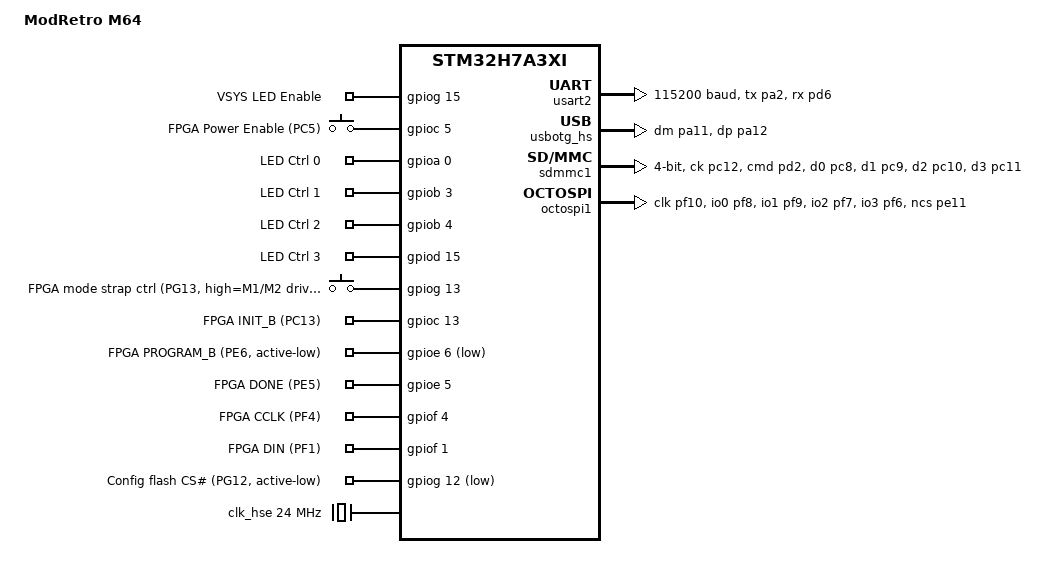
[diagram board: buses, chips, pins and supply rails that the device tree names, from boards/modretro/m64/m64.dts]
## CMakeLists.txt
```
# SPDX-License-Identifier: Apache-2.0

# Application entry point
cmake_minimum_required(VERSION 3.20.0)

# Point Zephyr at this repo's out-of-tree board directory.
set(BOARD_ROOT ${CMAKE_CURRENT_SOURCE_DIR})

find_package(Zephyr REQUIRED HINTS $ENV{ZEPHYR_BASE})
project(m64_app)

target_sources(app PRIVATE src/main.c src/leds.c src/fpga_prg.c src/fpga_spi.c)
```

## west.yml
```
# West manifest for the ModRetro M64 (STM32H7A3ZIT6) application.
#
# This makes m64-misc/mcu a self-contained west workspace that pulls in
# upstream Zephyr but only the modules needed to build for STM32H7.
#
# Bootstrap (from the repo, with a Python venv + west installed):
#
#   cd /home/markus/work/repos/m64-misc
#   west init -l mcu
#   west update
#   west zephyr-export
#
# Then build:
#
#   export ZEPHYR_BASE=$(west topdir)/zephyr
#   cd mcu
#   west build -b m64 .
#
# To add a module later, add its name to the name-allowlist below and
# re-run `west update`.

manifest:
  remotes:
    - name: zephyrproject-rtos
      url-base: https://github.com/zephyrproject-rtos

  projects:
    - name: zephyr
      remote: zephyrproject-rtos
      revision: v4.1.0
      import:
        # Only clone the modules required for an STM32H7 Cortex-M7 target.
        name-allowlist:
          - cmsis          # ARM CMSIS core (required for Cortex-M)
          - hal_stm32      # STM32 HAL/LL drivers (required for this SoC)
          - fatfs          # ELM-ChaN FatFs (FAT filesystem for the SD card)
          # Uncomment as needed:
          # - mcuboot      # secure bootloader
          # - segger       # SEGGER RTT / J-Link
          # - hal_st       # ST sensor/component HALs
          # - littlefs     # LittleFS filesystem
          # - tinycrypt    # crypto primitives

  self:
    # Path of THIS manifest repo within the workspace. `west init -l mcu`
    # sets the workspace root to the parent (m64-misc/), so this repo lives
    # at m64-misc/mcu.
    path: mcu
```

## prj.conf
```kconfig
# Application Kconfig options
CONFIG_SERIAL=y
CONFIG_CONSOLE=y
CONFIG_UART_CONSOLE=y

# Console + logs go over the USB CDC-ACM port (see zephyr,console in the DTS).
CONFIG_LOG=y
# Logs are emitted through the shell's log backend (see below), so the
# standalone UART backend is disabled and deferred mode is used (the shell
# processes log records from its own thread).
CONFIG_LOG_BACKEND_UART=n

# Interactive shell on the USB CDC-ACM port (shares zephyr,shell-uart).
CONFIG_SHELL=y
# Route log output through the shell backend so shell prompts and log
# records don't interleave on the shared console.
CONFIG_SHELL_LOG_BACKEND=y
# Immediate (synchronous) logging: render each LOG_* at the call site instead
# of queuing it for the shell thread to drain when idle. Without this, logs
# emitted inside a long-running/blocking shell command handler are not printed
# until the handler returns (and never, if it blocks). Useful for bring-up.
CONFIG_LOG_MODE_IMMEDIATE=y

# USB device stack + CDC-ACM, used as the primary console.
# Initialize the USB device stack automatically at boot so the console is
# up before main() (and the logging backend) writes to it.
CONFIG_USB_DEVICE_STACK=y
CONFIG_USB_DEVICE_INITIALIZE_AT_BOOT=y
CONFIG_USB_DEVICE_PRODUCT="ModRetro M64"
CONFIG_USB_CDC_ACM=y
CONFIG_UART_LINE_CTRL=y

# System info for the console banner.
CONFIG_HWINFO=y
CONFIG_REBOOT=y
CONFIG_PRINTK=y

# SD card on SDMMC1: disk access + SD/SDHC stack.
CONFIG_DISK_ACCESS=y
CONFIG_DISK_DRIVER_SDMMC=y
CONFIG_SDMMC_STACK=y
CONFIG_SDHC=y

# Enable SDMMC hardware flow control: the peripheral stalls the SD clock when
# the FIFO is full/empty, preventing RX overrun / TX underrun on this marginal
# card layout (observed SDMMC_ERROR_RX_OVERRUN without it).
CONFIG_SDMMC_STM32_HWFC=y

# FAT filesystem (removable, PC-readable).
CONFIG_FILE_SYSTEM=y
CONFIG_FAT_FILESYSTEM_ELM=y
# Long filename (LFN) support. Without this FatFs only handles 8.3 names.
CONFIG_FS_FATFS_LFN=y
# LFN work-buffer location.
CONFIG_FS_FATFS_LFN_MODE_HEAP=y
# Max LFN length (1..255). Static buffer costs (MAX_LFN+1)*2 bytes.
CONFIG_FS_FATFS_MAX_LFN=255

# USB Mass Storage: export the SD card's raw blocks to the host.
# The MSC LUN maps directly to the SDMMC "SD" disk (disk_access_*), so the
# host sees the real card. FatFs and the host cannot own the FAT at the same
# time, so 'm64 sd usb on' unmounts FatFs before handing the card over.
CONFIG_USB_MASS_STORAGE=y
CONFIG_MASS_STORAGE_DISK_NAME="SD"

# CRC library, for verifying SD reads of the bitstream (m64 fpgacrc).
CONFIG_CRC=y

# OCTOSPI1 to the FPGA (custom SPI slave) is driven directly through the STM32
# HAL (HAL_OSPI_*) from src/ospi.c; no Zephyr flash driver binds to the node.
# USE_STM32_HAL_OSPI has no prompt (it is normally select'd by a driver), so it
# is select'd from the board Kconfig (boards/modretro/m64/Kconfig.m64) instead.
```

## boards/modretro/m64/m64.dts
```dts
/*
 * SPDX-License-Identifier: Apache-2.0
 *
 * ModRetro M64 board devicetree.
 * SoC: STM32H7A3ZIT6 (LQFP144).
 *
 */

/dts-v1/;

/* Base SoC devicetree for the STM32H7A3xI (2 MB flash) family. */
#include <st/h7/stm32h7a3Xi.dtsi>
/* Pin control definitions for the ZI (LQFP144) package.
 * Non-Q (without-SMPS) variant: this is the STM32H7A3ZIT6 pinout that exposes
 * PF0-PF15 and PG0-PG15 (the SMPS supply pins are reassigned as GPIO.)
 */
#include <st/h7/stm32h7a3z(g-i)tx-pinctrl.dtsi>

#include <zephyr/dt-bindings/gpio/gpio.h>
#include <zephyr/dt-bindings/input/input-event-codes.h>

/ {
	model = "ModRetro M64";
	compatible = "modretro,m64";

	chosen {
		/*
		 * Primary console (printk, logs, boot banner, faults) on the
		 * USB CDC-ACM port. USART2 remains available as a wired backup
		 * but is no longer the chosen console.
		 */
		zephyr,console = &cdc_acm_uart0;
		zephyr,shell-uart = &cdc_acm_uart0;
		zephyr,sram = &sram0;
		zephyr,flash = &flash0;
		/* Place code tagged __itcm_section in zero-wait-state ITCM
		 * (used for the cycle-tight WS2812 bit-bang). */
		zephyr,itcm = &itcm;
	};

	/*
	 * Board-specific general-purpose GPIOs (Option B: custom node,
	 * driven directly via GPIO_DT_SPEC_GET(DT_NODELABEL(...), gpios)).
	 */
	m64_gpios {
		compatible = "gpio-keys";
		// Power domain enables
		vsys_led_on: vsys_led_on {
			gpios = <&gpiog 15 GPIO_ACTIVE_HIGH>;
			label = "VSYS LED Enable";
		};
		fpga_pwr_en: fpga_pwr_en {
			gpios = <&gpioc 5 GPIO_ACTIVE_HIGH>;
			label = "FPGA Power Enable (PC5)";
		};

		// LEDs
		ctrl_led_data_0: ctrl_led_data_0 {
			gpios = <&gpioa 0 GPIO_ACTIVE_HIGH>;
			label = "LED Ctrl 0";
		};
		ctrl_led_data_1: ctrl_led_data_1 {
			gpios = <&gpiob 3 GPIO_ACTIVE_HIGH>;
			label = "LED Ctrl 1";
		};
		ctrl_led_data_2: ctrl_led_data_2 {
			gpios = <&gpiob 4 GPIO_ACTIVE_HIGH>;
			label = "LED Ctrl 2";
		};
		ctrl_led_data_3: ctrl_led_data_3 {
			gpios = <&gpiod 15 GPIO_ACTIVE_HIGH>;
			label = "LED Ctrl 3";
		};

		// FPGA interface
		fpga_ss_boot_ctrl: fpga_ss_boot_ctrl {
			gpios = <&gpiog 13 GPIO_ACTIVE_HIGH>;
			label = "FPGA mode strap ctrl (PG13, high=M1/M2 driven to 1V8 => M[2:0]=111)";
		};
		fpga_init_b: fpga_init_b {
			gpios = <&gpioc 13 GPIO_ACTIVE_HIGH>;
			label = "FPGA INIT_B (PC13)";
		};
		fpga_program_b: fpga_program_b {
			gpios = <&gpioe 6 GPIO_ACTIVE_LOW>;
			label = "FPGA PROGRAM_B (PE6, active-low)";
		};
		fpga_done: fpga_done {
			gpios = <&gpioe 5 GPIO_ACTIVE_HIGH>;
			label = "FPGA DONE (PE5)";
		};

		/*
		 * Slave-Serial configuration clock/data, bit-banged as plain
		 * GPIOs (temporary bring-up). CCLK=PF4, DIN=PF0. Bitstream is
		 * shifted MSB-first, one bit per CCLK rising edge.
		 */
		fpga_cclk: fpga_cclk {
			gpios = <&gpiof 4 GPIO_ACTIVE_HIGH>;
			label = "FPGA CCLK (PF4)";
		};
		fpga_din: fpga_din {
			gpios = <&gpiof 1 GPIO_ACTIVE_HIGH>;
			label = "FPGA DIN (PF1)";
		};

		/*
		 * Config flash chip-select (PG12 = OCTOSPI2 NCS). The bitstream
		 * flash shares the CCLK/DIN bus with the FPGA's Slave-Serial
		 * input, so it must be DESELECTED (CS# high) during FPGA config
		 * to keep it off the shared IO0/DIN line. Active-low.
		 */
		flash_cs: flash_cs {
			gpios = <&gpiog 12 GPIO_ACTIVE_LOW>;
			label = "Config flash CS# (PG12, active-low)";
		};
	};
};

/*
 * Clock tree.
 *
 * HSE: 24 MHz passive crystal across PH0-OSC_IN / PH1-OSC_OUT (no bypass).
 * PLL1: 24 MHz / M=12 = 2 MHz ref; xN=280 -> VCO 560 MHz; /P=2 -> 280 MHz SYSCLK.
 */
&clk_hse {
	clock-frequency = <DT_FREQ_M(24)>;
	status = "okay";
};

&clk_hsi48 {
	/* 48 MHz RC, useful for USB/RNG. */
	status = "okay";
};

&pll {
	div-m = <12>;
	mul-n = <280>;
	div-p = <2>;
	div-q = <2>;
	div-r = <2>;
	clocks = <&clk_hse>;
	status = "okay";
};

/*
 * PLL2 provides the 48 MHz SDMMC1 kernel clock (via PLL2R).
 *
 * HSE 24 MHz / M=4 = 6 MHz ref; xN=80 -> VCO 480 MHz; /R=10 -> 48 MHz.
 * (P and Q are unused here but must be valid dividers.)
 */
&pll2 {
	div-m = <4>;
	mul-n = <80>;
	div-p = <2>;
	div-q = <2>;
	div-r = <10>;
	clocks = <&clk_hse>;
	status = "okay";
};

&rcc {
	clocks = <&pll>;
	clock-frequency = <DT_FREQ_M(280)>;
	d1cpre = <1>;
	hpre = <1>;
	d1ppre = <2>;
	d2ppre1 = <2>;
	d2ppre2 = <2>;
	d3ppre = <2>;
};

/*
 * Shell / boot-log / console UART.
 *
 * USART2: TX = PA2, RX = PD6 (per M64 schematic).
 */
&usart2 {
	pinctrl-0 = <&usart2_tx_pa2 &usart2_rx_pd6>;
	pinctrl-names = "default";
	current-speed = <115200>;
	status = "okay";
};

/*
 * USB OTG HS running on the internal full-speed PHY (PA11/PA12).
 *
 * This is the same connector used for ROM-bootloader DFU. Full-speed
 * (12 Mbit/s) is ample for a CDC-ACM console. Inherits the SoC-default
 * clocks (AHB1 USB1OTGHSEN + HSI48) and the internal usb-nop-xceiv PHY.
 *
 * NOTE: The external USB3300 ULPI HS PHY is on a separate port and is not
 * used here; switch back to it if Hi-Speed throughput is needed later.
 */
zephyr_udc0: &usbotg_hs {
	pinctrl-0 = <&usb_otg_hs_dm_pa11 &usb_otg_hs_dp_pa12>;
	pinctrl-names = "default";
	status = "okay";

	cdc_acm_uart0: cdc_acm_uart0 {
		compatible = "zephyr,cdc-acm-uart";
	};
};

/*
 * SD card on SDMMC1 (4-bit bus).
 *
 *   CK  = PC12   CMD = PD2
 *   D0  = PC8    D1  = PC9    D2  = PC10   D3  = PC11
 *   DET = PE15 (card-detect, active-low: pulled low when a card is present)
 *
 * The SDMMC kernel clock is provided by the SoC default; adjust the RCC
 * domain-clock source here if the card fails to initialise.
 */
&sdmmc1 {
	pinctrl-0 = <&sdmmc1_ck_pc12 &sdmmc1_cmd_pd2
		     &sdmmc1_d0_pc8 &sdmmc1_d1_pc9
		     &sdmmc1_d2_pc10 &sdmmc1_d3_pc11>;
	pinctrl-names = "default";
	/* AHB3 bus-clock gate + 48 MHz kernel clock from PLL2R (SDMMC_SEL=1). */
	clocks = <&rcc STM32_CLOCK_BUS_AHB3 0x00010000>,
		 <&rcc STM32_SRC_PLL2_R SDMMC_SEL(1)>;
	cd-gpios = <&gpioe 15 GPIO_ACTIVE_LOW>;
	bus-width = <4>;
	/* Card clock = SDMMCCLK / (2 * clk-div) = 48 MHz / 8 = 6 MHz.
	 * The card is unreliable at full speed on this layout; 6 MHz is
	 * stable. Lower clk-div (toward 0) to go faster if margins allow. */
	clk-div = <4>;
	disk-name = "SD";
	status = "okay";
};

/*
 * Custom SPI/QSPI link to the FPGA over OCTOSPI1 (I/O port 1).
 *
 * The FPGA implements a custom SPI slave; the MCU drives it directly via the
 * STM32 HAL (HAL_OSPI_*), not the Zephyr st,stm32-ospi-nor driver. Because no
 * NOR child node is attached here, no flash driver binds to this controller,
 * leaving the peripheral free for application-owned HAL transactions. This
 * node exists to (a) mux the pins and (b) gate the peripheral clock via the
 * standard Zephyr pinctrl/clock plumbing.
 *
 * Pin map (fixed by silicon on the H7A3 ZI package, I/O port 1):
 *   CLK  = PF10          NCS  = PE11
 *   IO0  = PF8           IO1  = PF9
 *   IO2  = PF7           IO3  = PF6
 *
 * NOTE: IO0..IO3 are hard-mapped to PF8/PF9/PF7/PF6 (not PF6..PF9 in order).
 * The FPGA slave must wire data[0..3] to PF8/PF9/PF7/PF6 respectively or the
 * quad-phase bytes will be bit-scrambled.
 *
 * NOTE: PF6 was previously the (now removed) fpga_rst GPIO. It is reused here
 * as OCTOSPI IO3, so the two functions are mutually exclusive.
 *
 * Kernel clock: PLL1_Q (see stm32h7a3.dtsi default: STM32_SRC_PLL1_Q
 * OSPI_SEL(1)); with the current PLL1 tree that is 280 MHz. Pick the HAL
 * ClockPrescaler in software for the SCLK your FPGA slave can meet.
 */
&octospi1 {
	pinctrl-0 = <&octospim_p1_clk_pf10
		     &octospim_p1_io0_pf8
		     &octospim_p1_io1_pf9
		     &octospim_p1_io2_pf7
		     &octospim_p1_io3_pf6
		     &octospim_p1_ncs_pe11>;
	pinctrl-names = "default";
	status = "okay";
};
```

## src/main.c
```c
#include <ff.h>
#include <soc.h>
#include <stdio.h>
#include <stdlib.h>
#include <string.h>
#include <zephyr/device.h>
#include <zephyr/drivers/gpio.h>
#include <zephyr/drivers/hwinfo.h>
#include <zephyr/drivers/uart.h>
#include <zephyr/fs/fs.h>
#include <zephyr/kernel.h>
#include <zephyr/linker/section_tags.h>
#include <zephyr/logging/log.h>
#include <zephyr/shell/shell.h>
#include <zephyr/storage/disk_access.h>
#include <zephyr/sys/crc.h>
#include <zephyr/version.h>

LOG_MODULE_REGISTER(m64, LOG_LEVEL_INF);

void leds_setup_pins(void);
void fpga_setup_pins(void);
void fpga_spi_init(void);

/* Board GPIO: VSYS LED enable (PG15, active-high). */
static const struct gpio_dt_spec vsys_led_on = GPIO_DT_SPEC_GET(DT_NODELABEL(vsys_led_on), gpios);
static const struct gpio_dt_spec fpga_pwr_en = GPIO_DT_SPEC_GET(DT_NODELABEL(fpga_pwr_en), gpios);

/* FatFs mount for the SD card on SDMMC1 (disk-name "SD" from the DTS). */
static FATFS fat_fs;
static struct fs_mount_t sd_mnt = {
    .type = FS_FATFS,
    .fs_data = &fat_fs,
    .mnt_point = "/SD:",
};

static bool sd_mounted = false;

/* Bring up the SD disk and mount its FAT filesystem. Returns 0 on success,
 * a negative errno on failure (e.g. no card inserted). Non-fatal: the app
 * still boots without a card.
 */
static int mount_sd(void) {
  int rc;

  if (sd_mounted) {
    return 0;
  }

  /* "SD" must match disk-name in the sdmmc node. */
  rc = disk_access_init("SD");
  if (rc != 0) {
    LOG_ERR("SD: disk_access_init failed (%d) - no card?", rc);
    return -EIO;
  }

  rc = fs_mount(&sd_mnt);
  if (rc < 0) {
    LOG_ERR("SD: fs_mount(%s) failed (%d)", sd_mnt.mnt_point, rc);
    return rc;
  }

  sd_mounted = true;
  LOG_INF("SD mounted at %s", sd_mnt.mnt_point);
  return 0;
}

/* Unmount the SD filesystem. Returns 0 on success (or if already
 * unmounted), a negative errno on failure.
 */
static int unmount_sd(void) {
  int rc;

  if (!sd_mounted) {
    return 0;
  }

  rc = fs_unmount(&sd_mnt);
  if (rc < 0) {
    LOG_ERR("SD: fs_unmount(%s) failed (%d)", sd_mnt.mnt_point, rc);
    return rc;
  }

  sd_mounted = false;
  LOG_INF("SD unmounted from %s", sd_mnt.mnt_point);
  return 0;
}

static int cmd_m64_sd_mount(const struct shell *sh, size_t argc, char **argv) {
  ARG_UNUSED(argc);
  ARG_UNUSED(argv);

  int rc = mount_sd();

  if (rc != 0) {
    shell_error(sh, "mount failed (%d)", rc);
    return rc;
  }
  shell_print(sh, "mounted at %s", sd_mnt.mnt_point);
  return 0;
}

static int cmd_m64_sd_unmount(const struct shell *sh, size_t argc, char **argv) {
  ARG_UNUSED(argc);
  ARG_UNUSED(argv);

  int rc = unmount_sd();

  if (rc != 0) {
    shell_error(sh, "unmount failed (%d)", rc);
    return rc;
  }
  shell_print(sh, "unmounted");
  return 0;
}

/* List directory contents. Usage: m64 sd ls [path]
 * Path defaults to the mount point if omitted.
 */
static int cmd_m64_sd_ls(const struct shell *sh, size_t argc, char **argv) {
  const char *path = (argc > 1) ? argv[1] : sd_mnt.mnt_point;
  struct fs_dir_t dir;
  int rc;

  if (!sd_mounted) {
    shell_error(sh, "SD not mounted (run 'm64 sd mount')");
    return -ENODEV;
  }

  fs_dir_t_init(&dir);
  rc = fs_opendir(&dir, path);
  if (rc < 0) {
    shell_error(sh, "opendir(%s) failed (%d)", path, rc);
    return rc;
  }

  while (1) {
    struct fs_dirent entry;

    rc = fs_readdir(&dir, &entry);
    if (rc < 0) {
      shell_error(sh, "readdir failed (%d)", rc);
      break;
    }
    if (entry.name[0] == '\0') {
      break; /* end of directory */
    }

    if (entry.type == FS_DIR_ENTRY_DIR) {
      shell_print(sh, "  <DIR>  %s", entry.name);
    } else {
      shell_print(sh, "  %6zu %s", entry.size, entry.name);
    }
  }

  fs_closedir(&dir);
  return (rc < 0) ? rc : 0;
}

/* Print the contents of a file. Usage: m64 sd cat <path> */
static int cmd_m64_sd_cat(const struct shell *sh, size_t argc, char **argv) {
  const char *path = argv[1];
  struct fs_file_t file;
  char buf[128];
  ssize_t n;
  int rc;

  if (!sd_mounted) {
    shell_error(sh, "SD not mounted (run 'm64 sd mount')");
    return -ENODEV;
  }

  fs_file_t_init(&file);
  rc = fs_open(&file, path, FS_O_READ);
  if (rc < 0) {
    shell_error(sh, "open(%s) failed (%d)", path, rc);
    return rc;
  }

  /* Stream the file to the shell in chunks. shell_fprintf with a
   * bounded %.*s avoids assuming NUL-terminated content. */
  while ((n = fs_read(&file, buf, sizeof(buf))) > 0) {
    shell_fprintf(sh, SHELL_NORMAL, "%.*s", (int)n, buf);
  }

  if (n < 0) {
    shell_error(sh, "read failed (%d)", (int)n);
    rc = (int)n;
  } else {
    /* Ensure the prompt starts on a fresh line. */
    shell_fprintf(sh, SHELL_NORMAL, "\n");
    rc = 0;
  }

  fs_close(&file);
  return rc;
}

/* Dispatch one line to the shell, skipping blanks and '#' comments. */
static int source_run_line(const struct shell *sh, char *line) {
  if (line[0] == '\0' || line[0] == '#') {
    return 0;
  }

  int rc = shell_execute_cmd(sh, line);
  if (rc != 0) {
    shell_error(sh, "command failed (%d): %s", rc, line);
  }
  return rc;
}

/* Execute shell commands from a file, one command per line. Blank lines and
 * lines beginning with '#' are ignored. Stops at the first failing command. */
static int source_file(const struct shell *sh, const char *path) {
  struct fs_file_t file;
  static char line[128];
  size_t len = 0;
  char c;
  ssize_t n;
  int rc;

  if (!sd_mounted) {
    shell_error(sh, "SD not mounted (run 'm64 sd mount')");
    return -ENODEV;
  }

  fs_file_t_init(&file);
  rc = fs_open(&file, path, FS_O_READ);
  if (rc < 0) {
    shell_error(sh, "open(%s) failed (%d)", path, rc);
    return rc;
  }

  /* No performance concern here, so just read a byte at a time and split
   * on '\n' ('\r' is dropped so CRLF files work too). */
  while ((n = fs_read(&file, &c, 1)) == 1) {
    if (c == '\r') {
      continue;
    }

    if (c == '\n') {
      line[len] = '\0';
      rc = source_run_line(sh, line);
      if (rc != 0) {
        goto out;
      }
      len = 0;
      continue;
    }

    if (len >= sizeof(line) - 1) {
      shell_error(sh, "line too long (max %zu)", sizeof(line) - 1);
      rc = -EINVAL;
      goto out;
    }

    line[len++] = c;
  }

  if (n < 0) {
    shell_error(sh, "read failed (%d)", (int)n);
    rc = (int)n;
    goto out;
  }

  /* Handle a trailing line without a terminating newline. */
  if (len > 0) {
    line[len] = '\0';
    rc = source_run_line(sh, line);
  }

out:
  fs_close(&file);
  return rc;
}

/* Execute shell commands from a file. Usage: source <path> */
static int cmd_source(const struct shell *sh, size_t argc, char **argv) {
  return source_file(sh, argv[1]);
}

SHELL_STATIC_SUBCMD_SET_CREATE(
    m64_sd_cmds, SHELL_CMD(mount, NULL, "Mount the SD card.", cmd_m64_sd_mount),
    SHELL_CMD(unmount, NULL, "Unmount the SD card.", cmd_m64_sd_unmount),
    SHELL_CMD_ARG(ls, NULL, "List a directory: ls [path]", cmd_m64_sd_ls, 1, 1),
    SHELL_CMD_ARG(cat, NULL, "Print a file: cat <path>", cmd_m64_sd_cat, 2, 0),
    SHELL_SUBCMD_SET_END);

/* Distributed subcommand set for the "m64" root command. Other translation
 * units (e.g. fpga.c) append their own subcommands with SHELL_SUBCMD_ADD
 * against parent (m64)
 */
SHELL_SUBCMD_SET_CREATE(m64_cmds, (m64));

SHELL_SUBCMD_ADD((m64), sd, &m64_sd_cmds, "SD card control.", NULL, 1, 0);

SHELL_CMD_REGISTER(m64, &m64_cmds, "M64 specific commands.", NULL);

SHELL_CMD_ARG_REGISTER(source, NULL, "source <path to .sh file>", cmd_source, 2, 0);

int main(void) {
  leds_setup_pins();
  fpga_setup_pins();
  fpga_spi_init();

  /* Enable various power domains */
  (void)gpio_pin_configure_dt(&vsys_led_on, GPIO_OUTPUT_ACTIVE);
  /* Now power the FPGA on with strap + config pins already stable. */
  (void)gpio_pin_configure_dt(&fpga_pwr_en, GPIO_OUTPUT_INACTIVE);
  (void)gpio_pin_set_dt(&fpga_pwr_en, 0);
  k_msleep(50); /* allow power-on ramp + initial config sequence */
  (void)gpio_pin_set_dt(&fpga_pwr_en, 1);
  k_msleep(50); /* allow power-on ramp + initial config sequence */

  /* Mount the SD card (non-fatal if absent). */
  (void)mount_sd();

  /* Nothing else to do here: the interactive shell runs in its own
   * thread on the USB CDC-ACM console. */
  return 0;
}
```

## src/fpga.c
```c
#include <ff.h>
#include <soc.h>
#include <stdio.h>
#include <stdlib.h>
#include <string.h>
#include <zephyr/device.h>
#include <zephyr/drivers/gpio.h>
#include <zephyr/fs/fs.h>
#include <zephyr/kernel.h>
#include <zephyr/logging/log.h>
#include <zephyr/shell/shell.h>
#include <zephyr/sys/crc.h>

LOG_MODULE_REGISTER(m64_fpga, LOG_LEVEL_INF);

static const struct gpio_dt_spec fpga_ss_boot_ctrl =
    GPIO_DT_SPEC_GET(DT_NODELABEL(fpga_ss_boot_ctrl), gpios);
static const struct gpio_dt_spec fpga_init_b =
    GPIO_DT_SPEC_GET(DT_NODELABEL(fpga_init_b), gpios);
static const struct gpio_dt_spec fpga_program_b =
    GPIO_DT_SPEC_GET(DT_NODELABEL(fpga_program_b), gpios);
static const struct gpio_dt_spec fpga_done =
    GPIO_DT_SPEC_GET(DT_NODELABEL(fpga_done), gpios);
static const struct gpio_dt_spec flash_cs =
    GPIO_DT_SPEC_GET(DT_NODELABEL(flash_cs), gpios);

static const struct gpio_dt_spec fpga_cclk =
    GPIO_DT_SPEC_GET(DT_NODELABEL(fpga_cclk), gpios);
static const struct gpio_dt_spec fpga_din =
    GPIO_DT_SPEC_GET(DT_NODELABEL(fpga_din), gpios);

static const struct gpio_dt_spec fpga_rst =
    GPIO_DT_SPEC_GET(DT_NODELABEL(fpga_rst), gpios);

/*
 * ---------------------------------------------------------------------------
 * FPGA Slave-Serial configuration - BIT-BANG (temporary bring-up).
 *
 * CCLK = PF4, DIN = PF0, driven as plain GPIOs. This is a simple, robust
 * proof-of-life to confirm the FPGA configures: read a chunk from SD into
 * RAM, then clock it out bit-by-bit (MSB-first, data set up before the
 * rising CCLK edge, per Xilinx Slave-Serial). SD and GPIO never contend
 * because each SD read completes before we clock its bytes out.
 *
 * Not fast, but FPGA configuration is a one-time boot operation. Speed can
 * be revisited later (e.g. OCTOSPI or SPI on suitable pins).
 * ---------------------------------------------------------------------------
 */
#define FPGA_CCLK_PORT GPIOF
#define FPGA_CCLK_PIN 4U
#define FPGA_DIN_PORT GPIOF
#define FPGA_DIN_PIN 1U

/* BSRR set/reset masks (atomic single-store level changes). */
#define FPGA_CCLK_SET (1U << FPGA_CCLK_PIN)
#define FPGA_CCLK_CLR (1U << (FPGA_CCLK_PIN + 16))
#define FPGA_DIN_SET (1U << FPGA_DIN_PIN)
#define FPGA_DIN_CLR (1U << (FPGA_DIN_PIN + 16))

void fpga_setup_pins(void) {
  /* Set FPGA configuration mode to 'Slave Serial' (M[2:0] = 3'b111).
   * PG13 gates two N-FETs wired high-side (1V8 -> FET -> M1/M2). Gate high
   * turns them on, driving M1/M2 to 1V8 = 1; M0 has a fixed pull-up. So
   * PG13 high => M[2:0]=111 (active-high strap control). */
  (void)gpio_pin_configure_dt(&fpga_ss_boot_ctrl, GPIO_OUTPUT_ACTIVE);
  /* Set FPGA programming interface to inactive state (PROGRAM_B deasserted;
   * active-low + open-drain, so this drives the line physically high). */
  (void)gpio_pin_configure_dt(&fpga_program_b,
                              GPIO_OUTPUT_INACTIVE | GPIO_OPEN_DRAIN);
  (void)gpio_pin_configure_dt(&fpga_init_b, GPIO_INPUT);
  (void)gpio_pin_configure_dt(&fpga_done, GPIO_INPUT);

  /* Bit-bang config bus: CCLK (PF4) and DIN (PF0) as push-pull outputs,
   * both idle low. This also enables the GPIOF port clock. */
  (void)gpio_pin_configure_dt(&fpga_cclk, GPIO_OUTPUT_INACTIVE);
  (void)gpio_pin_configure_dt(&fpga_din, GPIO_OUTPUT_INACTIVE);
  (void)gpio_pin_configure_dt(&fpga_rst, GPIO_OUTPUT_INACTIVE);

  /* Deselect the config flash (CS# high) so it stays off the shared
   * CCLK/DIN bus. Active-low, so OUTPUT_INACTIVE drives PG12 high. */
  (void)gpio_pin_configure_dt(&flash_cs, GPIO_OUTPUT_INACTIVE);
}

/* Clock out one byte. */
static inline void fpga_bitbang_byte(uint8_t b) {
  for (int k = 0; k < 8; k++) {
    uint32_t din = (b & (1U << (7 - k))) ? FPGA_DIN_SET : FPGA_DIN_CLR;

    /* Idle low; sample on rising edge. */
    FPGA_DIN_PORT->BSRR = din;
    // XXX:TODO: Use CYCCNT here instead of nops
    __asm__ volatile("nop" ::: "memory");
    __asm__ volatile("nop" ::: "memory");
    __asm__ volatile("nop" ::: "memory");
    FPGA_CCLK_PORT->BSRR = FPGA_CCLK_SET; /* rising: latch */
    __asm__ volatile("nop" ::: "memory");
    __asm__ volatile("nop" ::: "memory");
    __asm__ volatile("nop" ::: "memory");
    FPGA_CCLK_PORT->BSRR = FPGA_CCLK_CLR; /* return low */
    __asm__ volatile("nop" ::: "memory");
    __asm__ volatile("nop" ::: "memory");
    __asm__ volatile("nop" ::: "memory");
  }
}

/* Program the FPGA in Slave-Serial mode (bit-banged) from a raw .bin on SD.
 *
 * Expects a raw .bin (write_bitstream -bin_file): no header to skip.
 * Returns 0 on success, negative errno otherwise.
 */
static int fpga_program_path(const char *binpath) {
  struct fs_file_t file;
  /* Large buffer so each SD read is a fast contiguous burst; the slow
   * bit-bang then runs with the SD idle. This avoids interleaving many
   * small reads with the slow clock-out, which was overrunning the
   * marginal SD link (SDMMC_ERROR_RX_OVERRUN). 64 KiB fits in main RAM. */
  static uint8_t cfg_buf[1024];
  ssize_t n;
  int rc;

  fs_file_t_init(&file);
  rc = fs_open(&file, binpath, FS_O_READ);
  if (rc < 0) {
    LOG_ERR("open(%s) failed (%d)", binpath, rc);
    return rc;
  }

  /* Idle CCLK to the phase's resting level before starting. */
  FPGA_CCLK_PORT->BSRR = FPGA_CCLK_CLR;

  /* Ensure the config flash is deselected so it can't drive the shared
   * IO0/DIN line while we clock the bitstream into the FPGA. */
  (void)gpio_pin_set_dt(&flash_cs, 0); /* 0 = inactive = CS# high */

  /* Pulse PROGRAM_B low to start a fresh configuration. */
  (void)gpio_pin_set_dt(&fpga_program_b, 1); /* assert (active low) */
  k_msleep(1);
  LOG_INF("INIT_B during clear (expect 0): %d", gpio_pin_get_dt(&fpga_init_b));
  (void)gpio_pin_set_dt(&fpga_program_b, 0); /* release: drive high */

  /* Wait for INIT_B high = config memory cleared, ready for data.
   * Bounded so a stuck-low INIT_B fails loudly instead of hanging the
   * shell thread forever (which also blocks deferred log draining). */
  int init_b_timeout_ms = 100;
  while (gpio_pin_get_dt(&fpga_init_b) == 0) {
    if (--init_b_timeout_ms < 0) {
      LOG_ERR("INIT_B stuck low: FPGA not clearing config "
              "memory (check PROGRAM_B, INIT_B pull-up, "
              "power, straps)");
      fs_close(&file);
      return -ETIMEDOUT;
    }
    k_msleep(1);
  }
  LOG_INF("FPGA ready for bitstream (bit-bang)");

  /* Read a big block, then clock it out; repeat. SD and GPIO never
   * overlap, and each SD session is a fast burst.
   *
   * While clocking, watch INIT_B: in Slave-Serial a listening FPGA pulls
   * INIT_B low if it hits a CRC error, so a dip proves our data is
   * actually reaching the config engine. Never dipping across the whole
   * image means the FPGA isn't seeing CCLK/DIN as config input at all.
   */
  bool init_b_dipped = false;
  size_t total_clocked = 0;

  while ((n = fs_read(&file, cfg_buf, sizeof(cfg_buf))) > 0) {
    for (ssize_t i = 0; i < n; i++) {
      fpga_bitbang_byte(cfg_buf[i]);

      /* Cheap periodic check (every 256 bytes). */
      if (((i & 0xFF) == 0) && !init_b_dipped &&
          gpio_pin_get_dt(&fpga_init_b) == 0) {
        init_b_dipped = true;
        LOG_WRN("INIT_B went LOW at ~%zu bytes "
                "(FPGA flagged a config/CRC error - "
                "data IS reaching it)",
                total_clocked + (size_t)i);
      }
    }
    total_clocked += (size_t)n;
  }
  fs_close(&file);

  LOG_INF("clocked %zu bytes; INIT_B dipped during load: %s", total_clocked,
          init_b_dipped ? "YES" : "NO");

  if (n < 0) {
    LOG_ERR("read failed (%d)", (int)n);
    return (int)n;
  }

  /*
   * Startup: after the last data byte the FPGA needs extra CCLK cycles
   * to complete its startup sequence and release DONE. DONE is asserted
   * partway through startup, so clock in bursts and poll DONE rather
   * than sending a fixed number of clocks. Bail out after a generous
   * bound (~ a few thousand extra clocks).
   */
  for (int burst = 0; burst < 256; burst++) {
    for (int i = 0; i < 8; i++) {
      fpga_bitbang_byte(0xFF); /* 64 clocks per burst */
    }
    if (gpio_pin_get_dt(&fpga_done) == 1) {
      LOG_INF("FPGA configured: DONE high after %d startup clocks",
              (burst + 1) * 64);

      // Apply core reset
      (void)gpio_pin_configure_dt(&fpga_rst, GPIO_OUTPUT_ACTIVE);
      k_msleep(1);
      (void)gpio_pin_configure_dt(&fpga_rst, GPIO_OUTPUT_INACTIVE);

      return 0;
    }
  }

  LOG_ERR("FPGA config failed: DONE low (INIT_B=%d)",
          gpio_pin_get_dt(&fpga_init_b));

  return -EIO;
}

/* m64 fpga [path] [phase] : program the FPGA (Slave-Serial) from a .bin.
 *   phase 0 = sample on rising CCLK edge (default), 1 = falling edge.
 */
static int cmd_m64_fpga(const struct shell *sh, size_t argc, char **argv) {
  const char *path = (argc > 1) ? argv[1] : "/SD:/fpga.bin";
  int rc;

  shell_print(sh, "programming...");

  rc = fpga_program_path(path);
  if (rc != 0) {
    shell_error(sh, "FPGA program failed (%d)", rc);
    return rc;
  }
  shell_print(sh, "FPGA programmed from %s", path);
  return 0;
}

/* Attach "fpga" as a subcommand of the "m64" root command defined in main.c.
 * The parent's subcommand set is created there with SHELL_SUBCMD_SET_CREATE. */
SHELL_SUBCMD_ADD((m64), fpga, NULL, "Program FPGA: fpga [path]", cmd_m64_fpga,
                 1, 1);
```

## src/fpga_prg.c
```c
#include <ff.h>
#include <soc.h>
#include <stdio.h>
#include <stdlib.h>
#include <string.h>
#include <zephyr/device.h>
#include <zephyr/drivers/gpio.h>
#include <zephyr/fs/fs.h>
#include <zephyr/kernel.h>
#include <zephyr/logging/log.h>
#include <zephyr/shell/shell.h>
#include <zephyr/sys/crc.h>

LOG_MODULE_REGISTER(m64_fpga, LOG_LEVEL_INF);

static const struct gpio_dt_spec fpga_ss_boot_ctrl =
    GPIO_DT_SPEC_GET(DT_NODELABEL(fpga_ss_boot_ctrl), gpios);
static const struct gpio_dt_spec fpga_init_b = GPIO_DT_SPEC_GET(DT_NODELABEL(fpga_init_b), gpios);
static const struct gpio_dt_spec fpga_program_b =
    GPIO_DT_SPEC_GET(DT_NODELABEL(fpga_program_b), gpios);
static const struct gpio_dt_spec fpga_done = GPIO_DT_SPEC_GET(DT_NODELABEL(fpga_done), gpios);
static const struct gpio_dt_spec flash_cs = GPIO_DT_SPEC_GET(DT_NODELABEL(flash_cs), gpios);

static const struct gpio_dt_spec fpga_cclk = GPIO_DT_SPEC_GET(DT_NODELABEL(fpga_cclk), gpios);
static const struct gpio_dt_spec fpga_din = GPIO_DT_SPEC_GET(DT_NODELABEL(fpga_din), gpios);

/*
 * ---------------------------------------------------------------------------
 * FPGA Slave-Serial configuration - BIT-BANG (temporary bring-up).
 *
 * CCLK = PF4, DIN = PF0, driven as plain GPIOs. This is a simple, robust
 * proof-of-life to confirm the FPGA configures: read a chunk from SD into
 * RAM, then clock it out bit-by-bit (MSB-first, data set up before the
 * rising CCLK edge, per Xilinx Slave-Serial). SD and GPIO never contend
 * because each SD read completes before we clock its bytes out.
 *
 * Not fast, but FPGA configuration is a one-time boot operation. Speed can
 * be revisited later (e.g. OCTOSPI or SPI on suitable pins).
 * ---------------------------------------------------------------------------
 */
#define FPGA_CCLK_PORT GPIOF
#define FPGA_CCLK_PIN 4U
#define FPGA_DIN_PORT GPIOF
#define FPGA_DIN_PIN 1U

/* BSRR set/reset masks (atomic single-store level changes). */
#define FPGA_CCLK_SET (1U << FPGA_CCLK_PIN)
#define FPGA_CCLK_CLR (1U << (FPGA_CCLK_PIN + 16))
#define FPGA_DIN_SET (1U << FPGA_DIN_PIN)
#define FPGA_DIN_CLR (1U << (FPGA_DIN_PIN + 16))

void fpga_setup_pins(void) {
  /* Set FPGA configuration mode to 'Slave Serial' (M[2:0] = 3'b111).
   * PG13 gates two N-FETs wired high-side (1V8 -> FET -> M1/M2). Gate high
   * turns them on, driving M1/M2 to 1V8 = 1; M0 has a fixed pull-up. So
   * PG13 high => M[2:0]=111 (active-high strap control). */
  (void)gpio_pin_configure_dt(&fpga_ss_boot_ctrl, GPIO_OUTPUT_ACTIVE);
  /* Set FPGA programming interface to inactive state (PROGRAM_B deasserted;
   * active-low + open-drain, so this drives the line physically high). */
  (void)gpio_pin_configure_dt(&fpga_program_b, GPIO_OUTPUT_INACTIVE | GPIO_OPEN_DRAIN);
  (void)gpio_pin_configure_dt(&fpga_init_b, GPIO_INPUT);
  (void)gpio_pin_configure_dt(&fpga_done, GPIO_INPUT);

  /* Bit-bang config bus: CCLK (PF4) and DIN (PF0) as push-pull outputs,
   * both idle low. This also enables the GPIOF port clock. */
  (void)gpio_pin_configure_dt(&fpga_cclk, GPIO_OUTPUT_INACTIVE);
  (void)gpio_pin_configure_dt(&fpga_din, GPIO_OUTPUT_INACTIVE);

  /* Deselect the config flash (CS# high) so it stays off the shared
   * CCLK/DIN bus. Active-low, so OUTPUT_INACTIVE drives PG12 high. */
  (void)gpio_pin_configure_dt(&flash_cs, GPIO_OUTPUT_INACTIVE);
}

/* Clock out one byte. */
static inline void fpga_bitbang_byte(uint8_t b) {
  for (int k = 0; k < 8; k++) {
    uint32_t din = (b & (1U << (7 - k))) ? FPGA_DIN_SET : FPGA_DIN_CLR;

    /* Idle low; sample on rising edge. */
    FPGA_DIN_PORT->BSRR = din;
    // XXX:TODO: Use CYCCNT here instead of nops
    __asm__ volatile("nop" ::: "memory");
    __asm__ volatile("nop" ::: "memory");
    __asm__ volatile("nop" ::: "memory");
    FPGA_CCLK_PORT->BSRR = FPGA_CCLK_SET; /* rising: latch */
    __asm__ volatile("nop" ::: "memory");
    __asm__ volatile("nop" ::: "memory");
    __asm__ volatile("nop" ::: "memory");
    FPGA_CCLK_PORT->BSRR = FPGA_CCLK_CLR; /* return low */
    __asm__ volatile("nop" ::: "memory");
    __asm__ volatile("nop" ::: "memory");
    __asm__ volatile("nop" ::: "memory");
  }
}

/* Program the FPGA in Slave-Serial mode (bit-banged) from a raw .bin on SD.
 *
 * Expects a raw .bin (write_bitstream -bin_file): no header to skip.
 * Returns 0 on success, negative errno otherwise.
 */
static int fpga_program_path(const char *binpath) {
  struct fs_file_t file;
  /* Large buffer so each SD read is a fast contiguous burst; the slow
   * bit-bang then runs with the SD idle. This avoids interleaving many
   * small reads with the slow clock-out, which was overrunning the
   * marginal SD link (SDMMC_ERROR_RX_OVERRUN). 64 KiB fits in main RAM. */
  static uint8_t cfg_buf[1024];
  ssize_t n;
  int rc;

  fs_file_t_init(&file);
  rc = fs_open(&file, binpath, FS_O_READ);
  if (rc < 0) {
    LOG_ERR("open(%s) failed (%d)", binpath, rc);
    return rc;
  }

  /* Idle CCLK to the phase's resting level before starting. */
  FPGA_CCLK_PORT->BSRR = FPGA_CCLK_CLR;

  /* Ensure the config flash is deselected so it can't drive the shared
   * IO0/DIN line while we clock the bitstream into the FPGA. */
  (void)gpio_pin_set_dt(&flash_cs, 0); /* 0 = inactive = CS# high */

  /* Pulse PROGRAM_B low to start a fresh configuration. */
  (void)gpio_pin_set_dt(&fpga_program_b, 1); /* assert (active low) */
  k_msleep(1);
  LOG_INF("INIT_B during clear (expect 0): %d", gpio_pin_get_dt(&fpga_init_b));
  (void)gpio_pin_set_dt(&fpga_program_b, 0); /* release: drive high */

  /* Wait for INIT_B high = config memory cleared, ready for data.
   * Bounded so a stuck-low INIT_B fails loudly instead of hanging the
   * shell thread forever (which also blocks deferred log draining). */
  int init_b_timeout_ms = 100;
  while (gpio_pin_get_dt(&fpga_init_b) == 0) {
    if (--init_b_timeout_ms < 0) {
      LOG_ERR("INIT_B stuck low: FPGA not clearing config "
              "memory (check PROGRAM_B, INIT_B pull-up, "
              "power, straps)");
      fs_close(&file);
      return -ETIMEDOUT;
    }
    k_msleep(1);
  }
  LOG_INF("FPGA ready for bitstream (bit-bang)");

  /* Read a big block, then clock it out; repeat. SD and GPIO never
   * overlap, and each SD session is a fast burst.
   *
   * While clocking, watch INIT_B: in Slave-Serial a listening FPGA pulls
   * INIT_B low if it hits a CRC error, so a dip proves our data is
   * actually reaching the config engine. Never dipping across the whole
   * image means the FPGA isn't seeing CCLK/DIN as config input at all.
   */
  bool init_b_dipped = false;
  size_t total_clocked = 0;

  while ((n = fs_read(&file, cfg_buf, sizeof(cfg_buf))) > 0) {
    for (ssize_t i = 0; i < n; i++) {
      fpga_bitbang_byte(cfg_buf[i]);

      /* Cheap periodic check (every 256 bytes). */
      if (((i & 0xFF) == 0) && !init_b_dipped && gpio_pin_get_dt(&fpga_init_b) == 0) {
        init_b_dipped = true;
        LOG_WRN("INIT_B went LOW at ~%zu bytes "
                "(FPGA flagged a config/CRC error - "
                "data IS reaching it)",
                total_clocked + (size_t)i);
      }
    }
    total_clocked += (size_t)n;
  }
  fs_close(&file);

  LOG_INF("clocked %zu bytes; INIT_B dipped during load: %s", total_clocked,
          init_b_dipped ? "YES" : "NO");

  if (n < 0) {
    LOG_ERR("read failed (%d)", (int)n);
    return (int)n;
  }

  /*
   * Startup: after the last data byte the FPGA needs extra CCLK cycles
   * to complete its startup sequence and release DONE. DONE is asserted
   * partway through startup, so clock in bursts and poll DONE rather
   * than sending a fixed number of clocks. Bail out after a generous
   * bound (~ a few thousand extra clocks).
   */
  for (int burst = 0; burst < 256; burst++) {
    for (int i = 0; i < 8; i++) {
      fpga_bitbang_byte(0xFF); /* 64 clocks per burst */
    }
    if (gpio_pin_get_dt(&fpga_done) == 1) {
      LOG_INF("FPGA configured: DONE high after %d startup clocks", (burst + 1) * 64);

      return 0;
    }
  }

  LOG_ERR("FPGA config failed: DONE low (INIT_B=%d)", gpio_pin_get_dt(&fpga_init_b));

  return -EIO;
}

/* m64 fpga program [path] : program the FPGA (Slave-Serial) from a .bin.
 *   phase 0 = sample on rising CCLK edge (default), 1 = falling edge.
 */
static int cmd_fpga_prog(const struct shell *sh, size_t argc, char **argv) {
  const char *path = (argc > 1) ? argv[1] : "/SD:/fpga.bin";
  int rc;

  shell_print(sh, "programming...");

  rc = fpga_program_path(path);
  if (rc != 0) {
    shell_error(sh, "FPGA program failed (%d)", rc);
    return rc;
  }
  shell_print(sh, "FPGA programmed from %s", path);
  return 0;
}

/* Distributed subcommand set for the "m64 fpga" command. This file owns the
 * set; other translation units (e.g. fpga_spi.c) append their own children
 * with SHELL_SUBCMD_ADD against parent (m64, fpga). The "fpga" node itself is
 * attached to the "m64" root command defined in main.c. */
SHELL_SUBCMD_SET_CREATE(m64_fpga_cmds, (m64, fpga));

SHELL_SUBCMD_ADD((m64), fpga, &m64_fpga_cmds, "FPGA control.", NULL, 1, 0);

/* m64 fpga program [path] : program the FPGA (Slave-Serial) from a .bin. */
SHELL_SUBCMD_ADD((m64, fpga), program, NULL, "Program FPGA: program [path]", cmd_fpga_prog, 1, 1);
```

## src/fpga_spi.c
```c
/*
 * Pin map (muxed in m64.dts &octospi1):
 *   CLK = PF10   NCS = PE11
 *   IO0 = PF8    IO1 = PF9    IO2 = PF7    IO3 = PF6
 *
 * Mirrors the essential parts of Zephyr's flash_stm32_ospi.c
 * stm32_ospi_init(): enable the peripheral + I/O-manager clocks, apply the
 * pinctrl state, HAL_OSPI_Init(), then HAL_OSPIM_Config() to route the
 * controller to physical I/O port 1.
 */

#include <errno.h>
#include <soc.h>
#include <stdlib.h>
#include <zephyr/device.h>
#include <zephyr/drivers/pinctrl.h>
#include <zephyr/fs/fs.h>
#include <zephyr/kernel.h>
#include <zephyr/logging/log.h>
#include <zephyr/shell/shell.h>
#include <zephyr/sys/byteorder.h>

LOG_MODULE_REGISTER(m64_ospi, LOG_LEVEL_INF);

#define OSPI_NODE DT_NODELABEL(octospi1)

PINCTRL_DT_DEFINE(OSPI_NODE);
static const struct pinctrl_dev_config *ospi_pcfg = PINCTRL_DT_DEV_CONFIG_GET(OSPI_NODE);

static OSPI_HandleTypeDef hospi;

#define OSPI_CLOCK_PRESCALER 256U

void fpga_spi_init(void) {
  int rc;

  /* 1. Peripheral + I/O-manager kernel/bus clocks. */
  __HAL_RCC_OSPI1_CLK_ENABLE();
  __HAL_RCC_OCTOSPIM_CLK_ENABLE();

  /* 2. Pin mux (CLK / NCS / IO0..IO3) via Zephyr pinctrl. */
  rc = pinctrl_apply_state(ospi_pcfg, PINCTRL_STATE_DEFAULT);
  if (rc < 0) {
    LOG_ERR("pinctrl apply failed (%d)", rc);
    return;
  }

  /* 3. Core controller init. */
  hospi.Instance = OCTOSPI1;
  hospi.Init.FifoThreshold = 4;
  hospi.Init.DualQuad = HAL_OSPI_DUALQUAD_DISABLE;
  hospi.Init.MemoryType = HAL_OSPI_MEMTYPE_MICRON; /* plain STR framing */
  hospi.Init.DeviceSize = 32;                      /* 4GB address space */
  hospi.Init.ChipSelectHighTime = 2;
  hospi.Init.FreeRunningClock = HAL_OSPI_FREERUNCLK_DISABLE;
  hospi.Init.ClockMode = HAL_OSPI_CLOCK_MODE_0;
  hospi.Init.ClockPrescaler = OSPI_CLOCK_PRESCALER;
  hospi.Init.SampleShifting = HAL_OSPI_SAMPLE_SHIFTING_NONE;
  hospi.Init.DelayHoldQuarterCycle = HAL_OSPI_DHQC_DISABLE;
  hospi.Init.ChipSelectBoundary = 0;
  hospi.Init.DelayBlockBypass = HAL_OSPI_DELAY_BLOCK_BYPASSED;
#if defined(OCTOSPI_DCR2_WRAPSIZE)
  hospi.Init.WrapSize = HAL_OSPI_WRAP_NOT_SUPPORTED;
#endif
  if (HAL_OSPI_Init(&hospi) != HAL_OK) {
    LOG_ERR("HAL_OSPI_Init failed");
    return;
  }

  /* 4. Route the controller to physical I/O port 1. */
  OSPIM_CfgTypeDef m = {0};
  m.ClkPort = 1;
  m.NCSPort = 1;
  m.IOLowPort = HAL_OSPIM_IOPORT_1_LOW;   /* IO0..IO3 */
  m.IOHighPort = HAL_OSPIM_IOPORT_1_HIGH; /* IO4..IO7 (unused, harmless) */
#if defined(OCTOSPIM_CR_MUXEN)
  m.Req2AckTime = 1;
#endif
  if (HAL_OSPIM_Config(&hospi, &m, HAL_OSPI_TIMEOUT_DEFAULT_VALUE) != HAL_OK) {
    LOG_ERR("HAL_OSPIM_Config failed");
    return;
  }

  LOG_INF("OCTOSPI1 up (SCLK = kernel/%u)", OSPI_CLOCK_PRESCALER);
}

static int fpga_read(uint16_t opcode, uint32_t addr, uint8_t *buf, size_t len) {

  OSPI_RegularCmdTypeDef cmd = {
      .OperationType = HAL_OSPI_OPTYPE_COMMON_CFG,
      .FlashId = HAL_OSPI_FLASH_ID_1,
      .Instruction = opcode,
      .InstructionMode = HAL_OSPI_INSTRUCTION_1_LINE,
      .InstructionSize = HAL_OSPI_INSTRUCTION_16_BITS,
      .InstructionDtrMode = HAL_OSPI_INSTRUCTION_DTR_DISABLE,
      .Address = addr,
      .AddressMode = HAL_OSPI_ADDRESS_1_LINE,
      .AddressSize = HAL_OSPI_ADDRESS_32_BITS,
      .AddressDtrMode = HAL_OSPI_ADDRESS_DTR_DISABLE,
      .AlternateBytesMode = HAL_OSPI_ALTERNATE_BYTES_NONE,
      .DataMode = HAL_OSPI_DATA_1_LINE,
      .DataDtrMode = HAL_OSPI_DATA_DTR_DISABLE,
      .NbData = len,
      .DummyCycles = 8,
      .DQSMode = HAL_OSPI_DQS_DISABLE,
      .SIOOMode = HAL_OSPI_SIOO_INST_EVERY_CMD,
  };

  HAL_StatusTypeDef hs = HAL_OSPI_Command(&hospi, &cmd, HAL_OSPI_TIMEOUT_DEFAULT_VALUE);
  if (hs != HAL_OK) {
    LOG_ERR("HAL_OSPI_Command failed: hs=%d state=0x%lx err=0x%lx", (int)hs,
            (unsigned long)hospi.State, (unsigned long)hospi.ErrorCode);
    return -EIO;
  }
  hs = HAL_OSPI_Receive(&hospi, buf, HAL_OSPI_TIMEOUT_DEFAULT_VALUE);
  if (hs != HAL_OK) {
    LOG_ERR("HAL_OSPI_Receive failed: hs=%d state=0x%lx err=0x%lx", (int)hs,
            (unsigned long)hospi.State, (unsigned long)hospi.ErrorCode);
    /* A timed-out / errored transfer leaves the peripheral BUSY or
     * mid-CMD_CFG; abort to return it to READY so the next command
     * doesn't fail with INVALID_SEQUENCE.
     *
     * We issue the abort inline (set CR.ABORT, wait for TC) rather
     * than calling HAL_OSPI_Abort(), because that function pulls in
     * HAL_MDMA_Abort() from its (for us dead) DMA branch, and the
     * MDMA HAL module isn't built in this app. */
    SET_BIT(hospi.Instance->CR, OCTOSPI_CR_ABORT);
    while ((hospi.Instance->SR & OCTOSPI_SR_BUSY) != 0U) {
      /* spin until the peripheral drops BUSY */
    }
    __HAL_OSPI_CLEAR_FLAG(&hospi, HAL_OSPI_FLAG_TC);
    hospi.State = HAL_OSPI_STATE_READY;
    hospi.ErrorCode = HAL_OSPI_ERROR_NONE;
    return -EIO;
  }
  return 0;
}

static int fpga_write(uint16_t opcode, uint32_t addr, uint8_t *buf, size_t len) {

  OSPI_RegularCmdTypeDef cmd = {
      .OperationType = HAL_OSPI_OPTYPE_COMMON_CFG,
      .FlashId = HAL_OSPI_FLASH_ID_1,
      .Instruction = opcode,
      .InstructionMode = HAL_OSPI_INSTRUCTION_1_LINE,
      .InstructionSize = HAL_OSPI_INSTRUCTION_16_BITS,
      .InstructionDtrMode = HAL_OSPI_INSTRUCTION_DTR_DISABLE,
      .Address = addr,
      .AddressMode = HAL_OSPI_ADDRESS_1_LINE,
      .AddressSize = HAL_OSPI_ADDRESS_32_BITS,
      .AddressDtrMode = HAL_OSPI_ADDRESS_DTR_DISABLE,
      .AlternateBytesMode = HAL_OSPI_ALTERNATE_BYTES_NONE,
      .DataMode = HAL_OSPI_DATA_1_LINE,
      .DataDtrMode = HAL_OSPI_DATA_DTR_DISABLE,
      .NbData = len,
      .DummyCycles = 8,
      .DQSMode = HAL_OSPI_DQS_DISABLE,
      .SIOOMode = HAL_OSPI_SIOO_INST_EVERY_CMD,
  };

  HAL_StatusTypeDef hs = HAL_OSPI_Command(&hospi, &cmd, HAL_OSPI_TIMEOUT_DEFAULT_VALUE);
  if (hs != HAL_OK) {
    LOG_ERR("HAL_OSPI_Command failed: hs=%d state=0x%lx err=0x%lx", (int)hs,
            (unsigned long)hospi.State, (unsigned long)hospi.ErrorCode);
    return -EIO;
  }
  hs = HAL_OSPI_Transmit(&hospi, buf, HAL_OSPI_TIMEOUT_DEFAULT_VALUE);
  if (hs != HAL_OK) {
    LOG_ERR("HAL_OSPI_Transmit failed: hs=%d state=0x%lx err=0x%lx", (int)hs,
            (unsigned long)hospi.State, (unsigned long)hospi.ErrorCode);
    /* A timed-out / errored transfer leaves the peripheral BUSY or
     * mid-CMD_CFG; abort to return it to READY so the next command
     * doesn't fail with INVALID_SEQUENCE.
     *
     * We issue the abort inline (set CR.ABORT, wait for TC) rather
     * than calling HAL_OSPI_Abort(), because that function pulls in
     * HAL_MDMA_Abort() from its (for us dead) DMA branch, and the
     * MDMA HAL module isn't built in this app. */
    SET_BIT(hospi.Instance->CR, OCTOSPI_CR_ABORT);
    while ((hospi.Instance->SR & OCTOSPI_SR_BUSY) != 0U) {
      /* spin until the peripheral drops BUSY */
    }
    __HAL_OSPI_CLEAR_FLAG(&hospi, HAL_OSPI_FLAG_TC);
    hospi.State = HAL_OSPI_STATE_READY;
    hospi.ErrorCode = HAL_OSPI_ERROR_NONE;
    return -EIO;
  }
  return 0;
}

static int cmd_fpga_read32(const struct shell *sh, size_t argc, char **argv) {
  uint32_t addr = (uint32_t)strtoul(argv[1], NULL, 0);
  uint32_t data;
  int rc = fpga_read(0x0000, addr, (uint8_t *)&data, sizeof(data));
  if (rc != 0) {
    shell_error(sh, "read failed (%d)", rc);
    return rc;
  }
  data = BSWAP_32(data);
  shell_print(sh, "addr=0x%08x data=0x%08x", addr, data);

  return 0;
}

static int cmd_fpga_write32(const struct shell *sh, size_t argc, char **argv) {
  uint32_t addr = (uint32_t)strtoul(argv[1], NULL, 0);
  uint32_t data = (uint32_t)strtoul(argv[2], NULL, 0);
  data = BSWAP_32(data);
  int rc = fpga_write(0x8000, addr, (uint8_t *)&data, sizeof(data));
  if (rc != 0) {
    shell_error(sh, "write failed (%d)", rc);
    return rc;
  }

  return 0;
}

static int cmd_fpga_read(const struct shell *sh, size_t argc, char **argv) {
  uint32_t addr = (uint32_t)strtoul(argv[1], NULL, 0);
  uint32_t len = (uint32_t)strtoul(argv[2], NULL, 0);
  ssize_t rem = (len + 3) & ~3; // Round up to 32-bit multiple

  while (rem > 0) {
    uint32_t data;
    size_t n = sizeof(data);
    int rc = fpga_read(0x0000, addr, (uint8_t *)&data, sizeof(data));
    if (rc != 0) {
      shell_error(sh, "read failed (%d)", rc);
      return rc;
    }
    data = BSWAP_32(data);
    shell_print(sh, "addr=0x%08x data=0x%08x", addr, data);
    addr += n;
    rem -= n;
  }

  return 0;
}

static int cmd_fpga_write(const struct shell *sh, size_t argc, char **argv) {
  uint32_t addr = (uint32_t)strtoul(argv[1], NULL, 0);
  const char *path = argv[2];
  struct fs_file_t file;
  ssize_t n;
  int rc;
  static uint8_t buf[1024];

  fs_file_t_init(&file);
  rc = fs_open(&file, path, FS_O_READ);
  if (rc < 0) {
    shell_error(sh, "open(%s) failed (%d)", path, rc);
    return rc;
  }

  while ((n = fs_read(&file, buf, sizeof(buf))) > 0) {
    n = (n + 3) & ~3; // Round up to 32-bit multiple
    rc = fpga_write(0x8000, addr, buf, n);
    if (rc != 0) {
      shell_error(sh, "write failed (%d)", rc);
      return rc;
    }
    addr += n;
  }

  fs_close(&file);

  return 0;
}

/* Attach read32/write32 as a children of the shared "m64 fpga" command. The
 * parent set (m64_fpga_cmds) is created in fpga_prg.c with
 * SHELL_SUBCMD_SET_CREATE. */
SHELL_SUBCMD_ADD((m64, fpga), read32, NULL, "read32 <addr>", cmd_fpga_read32, 2, 0);
SHELL_SUBCMD_ADD((m64, fpga), write32, NULL, "write32 <addr> <data>", cmd_fpga_write32, 3, 0);
SHELL_SUBCMD_ADD((m64, fpga), read, NULL, "read <addr> <length>", cmd_fpga_read, 3, 0);
SHELL_SUBCMD_ADD((m64, fpga), write, NULL, "write <addr> <filepath>", cmd_fpga_write, 3, 0);
```
